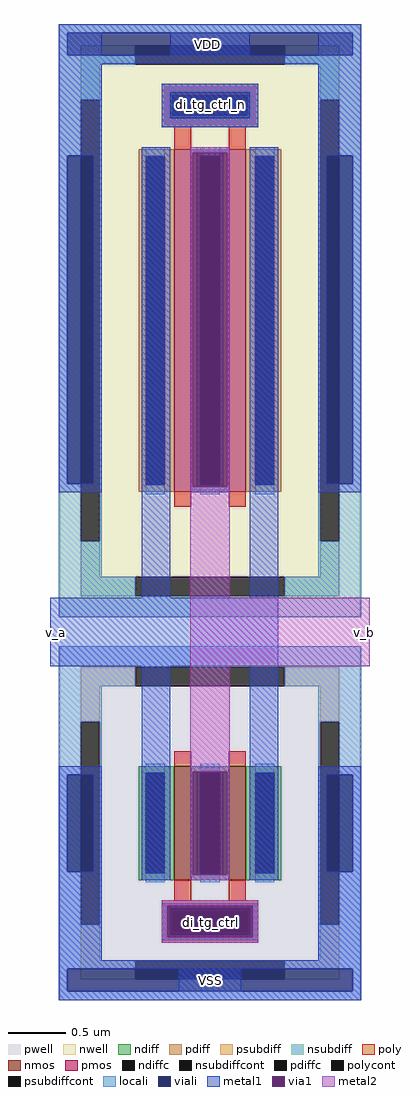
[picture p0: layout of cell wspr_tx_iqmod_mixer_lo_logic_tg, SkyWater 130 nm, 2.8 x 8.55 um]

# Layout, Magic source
magic
tech sky130A
magscale 1 2
<< viali >>
rect -40 180 5 755
rect 415 180 460 755
rect -40 -500 5 -330
rect 415 -500 460 -330
<< metal1 >>
rect -55 755 20 985
rect 140 930 280 970
rect 125 805 295 880
rect -55 180 -40 755
rect 5 180 20 755
rect -55 165 20 180
rect 90 -20 140 770
rect 175 760 245 770
rect 175 175 180 760
rect 240 175 245 760
rect 175 165 245 175
rect 280 -20 330 770
rect 400 755 475 985
rect 400 180 415 755
rect 460 180 475 755
rect 400 165 475 180
rect -70 -140 330 -20
rect -55 -330 20 -315
rect -55 -500 -40 -330
rect 5 -500 20 -330
rect -55 -660 20 -500
rect 90 -515 140 -140
rect 175 -325 245 -315
rect 175 -505 180 -325
rect 240 -505 245 -325
rect 175 -515 245 -505
rect 280 -515 330 -140
rect 400 -330 475 -315
rect 400 -500 415 -330
rect 460 -500 475 -330
rect 400 -660 475 -500
rect 155 -710 265 -670
<< via1 >>
rect 180 175 240 760
rect 180 -505 240 -325
rect 135 -615 285 -560
<< metal2 >>
rect 175 760 245 770
rect 175 175 180 760
rect 240 175 245 760
rect 175 -20 245 175
rect 175 -140 490 -20
rect 175 -325 245 -140
rect 175 -505 180 -325
rect 240 -505 245 -325
rect 175 -515 245 -505
rect 125 -560 295 -550
rect 125 -615 135 -560
rect 285 -615 295 -560
rect 125 -625 295 -615
use sky130_fd_pr__nfet_01v8_JS22WR  sky130_fd_pr__nfet_01v8_JS22WR_0
transform 1 0 210 0 1 -415
box -265 -310 265 310
use sky130_fd_pr__pfet_01v8_JBTYG7  sky130_fd_pr__pfet_01v8_JBTYG7_0
transform 1 0 210 0 1 466
box -265 -520 265 520
<< labels >>
flabel metal1 210 -690 210 -690 0 FreeSans 400 0 0 0 VSS
port 1 nsew
flabel metal1 -60 -80 -60 -80 0 FreeSans 400 0 0 0 v_a
port 3 nsew
flabel metal2 480 -80 480 -80 0 FreeSans 400 0 0 0 v_b
port 5 nsew
flabel metal1 205 950 205 950 0 FreeSans 400 0 0 0 VDD
port 7 nsew
flabel metal1 210 845 210 845 0 FreeSans 240 0 0 0 di_tg_ctrl_n
port 12 nsew
flabel via1 210 -590 210 -590 0 FreeSans 240 0 0 0 di_tg_ctrl
port 14 nsew
<< end >>

# cell sky130_fd_pr__nfet_01v8_JS22WR: kit device sky130_fd_pr__nfet_01v8, w 1.0 l 0.15 m 1 nf 2 diffcov 100 polycov 100 guard 1 glc 1 grc 1 gtc 1 gbc 1 tbcov 100 rlcov 100 topc 1 botc 1 poverlap 0 doverlap 1 lmin 0.15 wmin 0.42 class mosfet compatible {sky130_fd_pr__nfet_01v8 sky130_fd_pr__nfet_01v8_lvt sky130_fd_bs_flash__special_sonosfet_star sky130_fd_pr__nfet_g5v0d10v5 sky130_fd_pr__nfet_05v0_nvt sky130_fd_pr__nfet_03v3_nvt} full_metal 1 conn_gates 0 viasrc 100 viadrn 100 viagate 100 viagb 0 viagr 0 viagl 0 viagt 0 doports 1

# cell sky130_fd_pr__pfet_01v8_JBTYG7: kit device sky130_fd_pr__pfet_01v8, w 3.0 l 0.15 m 1 nf 2 diffcov 100 polycov 100 guard 1 glc 1 grc 1 gtc 1 gbc 1 tbcov 100 rlcov 100 topc 1 botc 1 poverlap 0 doverlap 1 lmin 0.15 wmin 0.42 class mosfet compatible {sky130_fd_pr__pfet_01v8 sky130_fd_pr__pfet_01v8_lvt sky130_fd_pr__pfet_01v8_hvt sky130_fd_pr__pfet_g5v0d10v5} full_metal 1 conn_gates 0 viasrc 100 viadrn 100 viagate 100 viagb 0 viagr 0 viagl 0 viagt 0 doports 1
